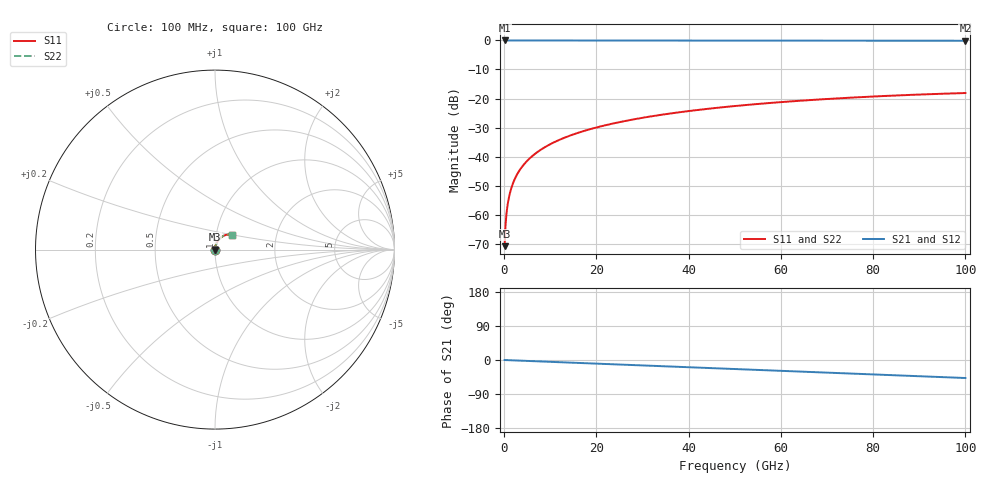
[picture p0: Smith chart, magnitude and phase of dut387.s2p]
! Touchstone file exported from HFSS 2026.1.0
!  File:  C:/ffzhzh/LocalFiles/Ansys_Project_Files/temp_train_TSV_387_1783510615_9504.aedt
!  Generated:  07:38:20 PM Jul  8, 2026
!  Design:  TSV
!  Project:  temp_train_TSV_387_1783510615_9504
! Variables:
!  h_bsmrdl = 2um
!  h_ox = 20um
!  h_rdl = 5um
!  h_sub = 96.3um
!  h_tmrdl = 5um
!  h_tsv = 96.3um
!  h_via = 3um
!  l_bsmrdl = 300um
!  l_sub = 416.66um
!  l_tmrdl = 200um
!  m_sub = 200um
!  pitch = 43.06um
!  r_tsv = 8.33um
!  s_tmrdl = 10um
!  w_bsmrdl = 18um
!  w_sub = 500um
!  w_tmrdl = 12um
!  x_tsv_center1 = 206um
!  x_tsv_center2 = 524um
!  x_tsv_center3 = 736um
!  x_tsv_center4 = 1054um
!  x_tsv_center5 = 1266um
!  x_tsv_center6 = 1584um
# GHz S MA R 50.000000
! Terminal data exported
! Port[1] = TSV1_1_T1
! Port[2] = TSV1_1_T2
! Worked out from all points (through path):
!   1000 points, 100 MHz to 100 GHz, reference 50 ohm
!   highest |S21| = 0.00 dB at 100 MHz (marker M1); lowest = -0.1 dB at 100 GHz (marker M2)
!   group delay of S21, straight-line fit = 1.32 ps
!   lowest |S11| = -70.9 dB at 100 MHz (marker M3), VSWR 1.00, Z = 50 + j0.0209 ohm
!   |S11| at or under -10 dB: start of sweep to end of sweep
!   |S22| runs from -70.9 to -18.1 dB; largest |S21 - S12| = 9.1e-15
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0.1  0.0002862 46.9  0.9998 -0.1  0.9998 -0.1  0.0002862 46.9
! Gamma 0 0 0 0
! Port Impedance 50 0 50 0
0.4  0.0008443 72.4  0.9997 -0.2  0.9997 -0.2  0.0008443 72.4
0.7  0.001389 76.4  0.9997 -0.3  0.9997 -0.3  0.001389 76.4
0.8  0.001565 77.1  0.9997 -0.4  0.9997 -0.4  0.001565 77.1
1  0.001913 78.2  0.9996 -0.5  0.9996 -0.5  0.001913 78.2
1.3  0.002427 79.3  0.9996 -0.6  0.9996 -0.6  0.002427 79.3
1.8  0.003272 80.3  0.9995 -0.9  0.9995 -0.9  0.003272 80.3
2.3  0.004104 80.9  0.9994 -1.1  0.9994 -1.1  0.004104 80.9
3  0.005249 81.3  0.9993 -1.5  0.9993 -1.5  0.005249 81.3
3.8  0.00654 81.6  0.9992 -1.9  0.9992 -1.9  0.00654 81.6
4.8  0.008139 81.8  0.9991 -2.3  0.9991 -2.3  0.008139 81.8
6  0.01005 81.8  0.999 -2.9  0.999 -2.9  0.01005 81.8
8.8  0.01446 81.3  0.9988 -4.3  0.9988 -4.3  0.01446 81.3
12.4  0.02007 80.1  0.9984 -6.0  0.9984 -6.0  0.02007 80.1
16.8  0.02683 78.5  0.9981 -8.1  0.9981 -8.1  0.02683 78.5
24.2  0.038 75.6  0.9974 -11.6  0.9974 -11.6  0.038 75.6
33.4  0.05147 71.6  0.9965 -16.0  0.9965 -16.0  0.05147 71.6
41.2  0.06243 68.1  0.9956 -19.7  0.9956 -19.7  0.06243 68.1
50.1  0.07433 64.1  0.9945 -23.9  0.9945 -23.9  0.07433 64.1
66.7  0.09444 56.5  0.9924 -31.8  0.9924 -31.8  0.09444 56.4
83.4  0.1114 48.7  0.9903 -39.7  0.9903 -39.7  0.1114 48.7
100  0.1242 41.1  0.9884 -47.5  0.9884 -47.5  0.1242 41.0
